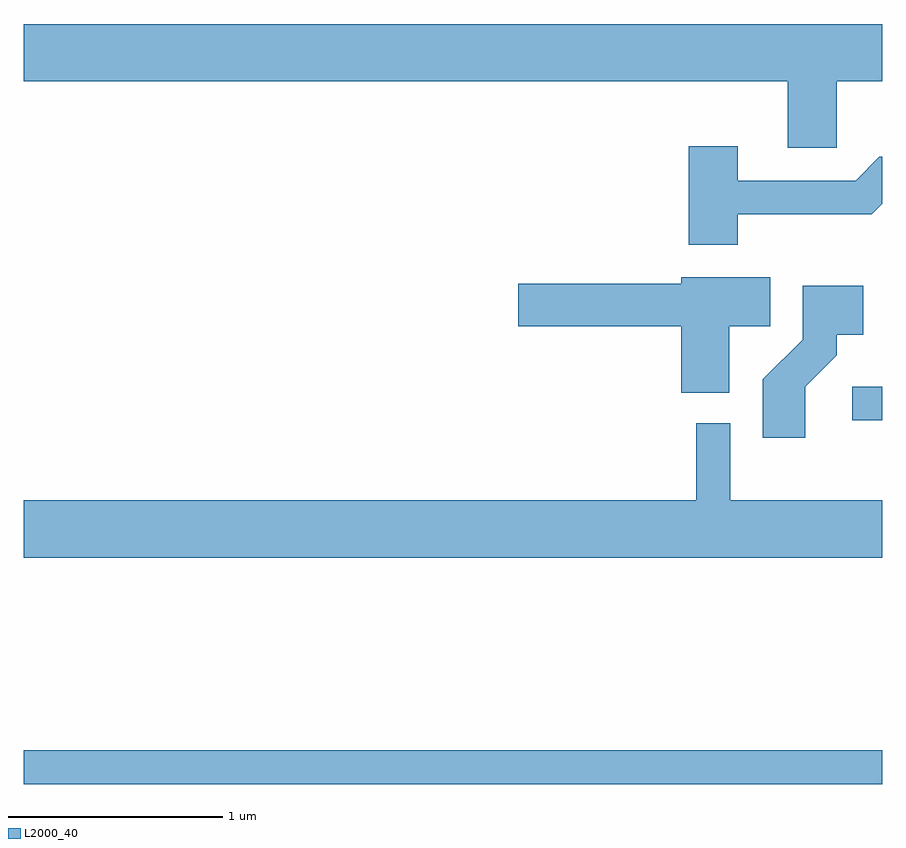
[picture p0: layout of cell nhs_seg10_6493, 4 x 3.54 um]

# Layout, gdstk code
import gdstk
lib = gdstk.Library(unit=1e-6, precision=1e-09)
def R(c, l, rs):  # rectangles x0, y0, x1, y1
    for r in rs: c.add(gdstk.rectangle(r[:2], r[2:], *l))
def P(c, l, *ps):  # polygons
    for p in ps: c.add(gdstk.Polygon(p, *l))
L2000_40 = (2000, 40)

nhs_seg10_6493 = lib.new_cell('nhs_seg10_6493')
R(nhs_seg10_6493, L2000_40, [(377.611,2092.881,381.611,2093.039), (381.473,2094.576,381.611,2094.734)])
P(nhs_seg10_6493, L2000_40, [(381.399,2096.156),(381.611,2096.156),(381.611,2096.424),(377.611,2096.424),(377.611,2096.156),(381.171,2096.156),(381.171,2095.846),(381.399,2095.846)],
  [(380.939,2095.536),(381.562,2095.536),(381.611,2095.585),(381.611,2095.804),(381.599,2095.804),(381.489,2095.694),(380.939,2095.694),(380.939,2095.854),(380.711,2095.854),(380.711,2095.396),(380.939,2095.396)],
  [(380.899,2095.016),(381.089,2095.016),(381.089,2095.244),(380.676,2095.244),(380.676,2095.214),(379.916,2095.214),(379.916,2095.016),(380.676,2095.016),(380.676,2094.706),(380.899,2094.706)],
  [(381.254,2094.733),(381.399,2094.879),(381.399,2094.976),(381.524,2094.976),(381.524,2095.204),(381.241,2095.204),(381.241,2094.952),(381.056,2094.767),(381.056,2094.496),(381.254,2094.496)],
  [(381.611,2094.204),(380.904,2094.204),(380.904,2094.563),(380.746,2094.563),(380.746,2094.204),(377.611,2094.204),(377.611,2093.936),(381.611,2093.936)])

lib.write_gds('nhs_seg10_6493.gds')
